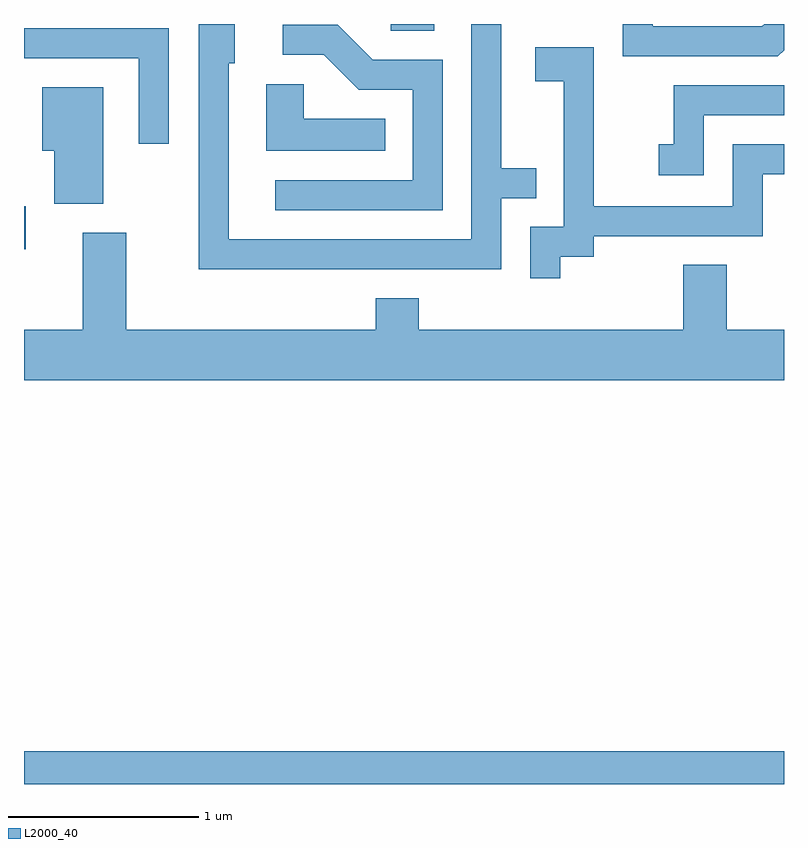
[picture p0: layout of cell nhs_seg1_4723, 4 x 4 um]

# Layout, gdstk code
import gdstk
lib = gdstk.Library(unit=1e-6, precision=1e-09)
def R(c, l, rs):  # rectangles x0, y0, x1, y1
    for r in rs: c.add(gdstk.rectangle(r[:2], r[2:], *l))
def P(c, l, *ps):  # polygons
    for p in ps: c.add(gdstk.Polygon(p, *l))
L2000_40 = (2000, 40)

nhs_seg1_4723 = lib.new_cell('nhs_seg1_4723')
R(nhs_seg1_4723, L2000_40, [(327.611,859.712,331.611,859.884), (327.611,862.526,327.619,862.754), (329.541,863.676,329.769,863.712)])
P(nhs_seg1_4723, L2000_40, [(331.611,863.575),(331.611,863.712),(331.507,863.712),(331.494,863.699),(330.919,863.699),(330.919,863.712),(330.761,863.712),(330.761,863.541),(331.577,863.541)],
  [(330.124,862.796),(330.308,862.796),(330.308,862.954),(330.124,862.954),(330.124,863.712),(329.966,863.712),(329.966,862.579),(328.689,862.579),(328.689,863.506),(328.719,863.506),(328.719,863.712),(328.531,863.712),(328.531,862.421),(330.124,862.421)],
  [(329.814,863.524),(329.447,863.524),(329.262,863.709),(328.973,863.709),(328.973,863.551),(329.189,863.551),(329.374,863.366),(329.656,863.366),(329.656,862.889),(328.933,862.889),(328.933,862.731),(329.814,862.731)],
  [(328.374,863.689),(327.611,863.689),(327.611,863.531),(328.216,863.531),(328.216,863.083),(328.374,863.083)],
  [(330.434,862.486),(330.609,862.486),(330.609,862.596),(331.499,862.596),(331.499,862.921),(331.611,862.921),(331.611,863.079),(331.341,863.079),(331.341,862.754),(330.609,862.754),(330.609,863.589),(330.301,863.589),(330.301,863.411),(330.451,863.411),(330.451,862.644),(330.276,862.644),(330.276,862.373),(330.434,862.373)],
  [(329.513,863.214),(329.084,863.214),(329.084,863.394),(328.886,863.394),(328.886,863.046),(329.513,863.046)],
  [(331.189,863.231),(331.611,863.231),(331.611,863.389),(331.031,863.389),(331.031,863.079),(330.953,863.079),(330.953,862.916),(331.189,862.916)],
  [(328.029,863.379),(327.706,863.379),(327.706,863.046),(327.771,863.046),(327.771,862.766),(328.029,862.766)],
  [(331.611,862.104),(331.309,862.104),(331.309,862.444),(331.081,862.444),(331.081,862.104),(329.689,862.104),(329.689,862.269),(329.461,862.269),(329.461,862.104),(328.149,862.104),(328.149,862.614),(327.921,862.614),(327.921,862.104),(327.611,862.104),(327.611,861.836),(331.611,861.836)])

lib.write_gds('nhs_seg1_4723.gds')
